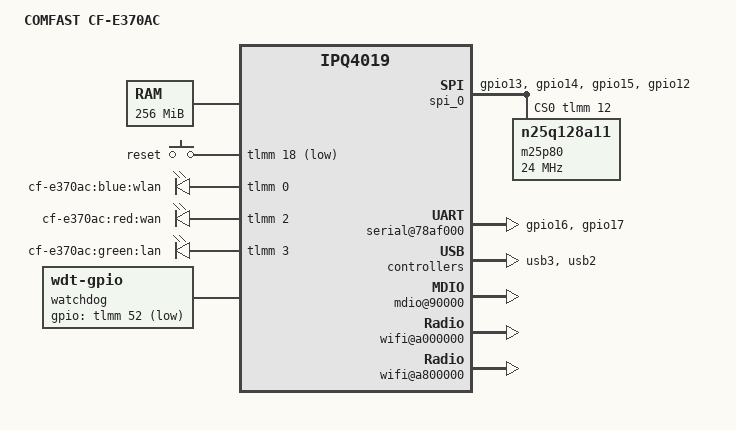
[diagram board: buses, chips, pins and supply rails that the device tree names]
/* Copyright (c) 2015, The Linux Foundation. All rights reserved.
 *
 * Permission to use, copy, modify, and/or distribute this software for any
 * purpose with or without fee is hereby granted, provided that the above
 * copyright notice and this permission notice appear in all copies.
 *
 * THE SOFTWARE IS PROVIDED "AS IS" AND THE AUTHOR DISCLAIMS ALL WARRANTIES
 * WITH REGARD TO THIS SOFTWARE INCLUDING ALL IMPLIED WARRANTIES OF
 * MERCHANTABILITY AND FITNESS. IN NO EVENT SHALL THE AUTHOR BE LIABLE FOR
 * ANY SPECIAL, DIRECT, INDIRECT, OR CONSEQUENTIAL DAMAGES OR ANY DAMAGES
 * WHATSOEVER RESULTING FROM LOSS OF USE, DATA OR PROFITS, WHETHER IN AN
 * ACTION OF CONTRACT, NEGLIGENCE OR OTHER TORTIOUS ACTION, ARISING OUT OF
 * OR IN CONNECTION WITH THE USE OR PERFORMANCE OF THIS SOFTWARE.
 *
 */

#include "qcom-ipq4019.dtsi"
#include <dt-bindings/gpio/gpio.h>
#include <dt-bindings/input/input.h>
#include <dt-bindings/soc/qcom,tcsr.h>

/ {
	model = "COMFAST CF-E370AC";
	compatible = "comfast,cf-e370ac", "qcom,ipq4019";

	memory {
		device_type = "memory";
		reg = <0x80000000 0x10000000>;
	};

	soc {
		tcsr@194b000 {
			/* select hostmode */
			compatible = "qcom,tcsr";
			reg = <0x194b000 0x100>;
			qcom,usb-hsphy-mode-select = <TCSR_USB_HSPHY_HOST_MODE>;
		};

		ess_tcsr@1953000 {
			compatible = "qcom,tcsr";
			reg = <0x1953000 0x1000>;
			qcom,ess-interface-select = <TCSR_ESS_PSGMII>;
		};

		tcsr@1949000 {
			compatible = "qcom,tcsr";
			reg = <0x1949000 0x100>;
			qcom,wifi_glb_cfg = <TCSR_WIFI_GLB_CFG>;
		};

		tcsr@1957000 {
			compatible = "qcom,tcsr";
			reg = <0x1957000 0x100>;
			qcom,wifi_noc_memtype_m0_m2 = <TCSR_WIFI_NOC_MEMTYPE_M0_M2>;
		};

		pinctrl@1000000 {
			serial_pins: serial_pinmux {
				mux {
					pins = "gpio16", "gpio17";
					function = "blsp_uart0";
					bias-disable;
				};
			};

			spi_0_pins: spi_0_pinmux {
				pinmux {
					function = "blsp_spi0";
					pins = "gpio13", "gpio14", "gpio15";
				};
				pinmux_cs {
					function = "gpio";
					pins = "gpio12";
				};
				pinconf {
					pins = "gpio13", "gpio14", "gpio15";
					drive-strength = <12>;
					bias-disable;
				};
				pinconf_cs {
					pins = "gpio12";
					drive-strength = <2>;
					bias-disable;
					output-high;
				};
			};
		};

		spi_0: spi@78b5000 {
			pinctrl-0 = <&spi_0_pins>;
			pinctrl-names = "default";
			status = "ok";
			cs-gpios = <&tlmm 12 0>;

			m25p80@0 {
				#address-cells = <1>;
				#size-cells = <1>;
				reg = <0>;
				compatible = "n25q128a11", "jedec,spi-nor";
				linux,modalias = "m25p80", "n25q128a11";
				spi-max-frequency = <24000000>;
				use-default-sizes;

				/* partitions are passed via bootloader */
			};
		};

		blsp_dma: dma@7884000 {
			status = "ok";
		};

		serial@78af000 {
			pinctrl-0 = <&serial_pins>;
			pinctrl-names = "default";
			status = "ok";
		};

		cryptobam: dma@8e04000 {
			status = "ok";
		};

		crypto@8e3a000 {
			status = "ok";
		};

		watchdog@b017000 {
			status = "ok";
		};

		usb3_ss_phy: ssphy@9a000 {
			status = "ok";
		};

		usb3_hs_phy: hsphy@a6000 {
			status = "ok";
		};

		usb3: usb3@8af8800 {
			status = "ok";
		};

		usb2_hs_phy: hsphy@a8000 {
			status = "ok";
		};

		usb2: usb2@60f8800 {
			status = "ok";
		};

		mdio@90000 {
			status = "okay";
		};

		ess-switch@c000000 {
			status = "okay";
		};

		ess-psgmii@98000 {
			status = "okay";
		};

		edma@c080000 {
			status = "okay";
		};

		wifi@a000000 {
			status = "okay";
		};

		wifi@a800000 {
			status = "okay";
		};
	};

	gpio_keys {
		compatible = "gpio-keys";

		reset {
			label = "reset";
			gpios = <&tlmm 18 GPIO_ACTIVE_LOW>;
			linux,code = <KEY_RESTART>;
		};
	};

	gpio-leds {
		compatible = "gpio-leds";

		wlan {
			label = "cf-e370ac:blue:wlan";
			gpios = <&tlmm 0 GPIO_ACTIVE_HIGH>;
		};

		wan {
			label = "cf-e370ac:red:wan";
			gpios = <&tlmm 2 GPIO_ACTIVE_HIGH>;
		};

		lan {
			label = "cf-e370ac:green:lan";
			gpios = <&tlmm 3 GPIO_ACTIVE_HIGH>;
		};
	};

	watchdog {
		compatible = "linux,wdt-gpio";
		gpios = <&tlmm 52 GPIO_ACTIVE_LOW>;
		hw_algo = "toggle";
		hw_margin_ms = <800>;
		always-running;
	};
};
